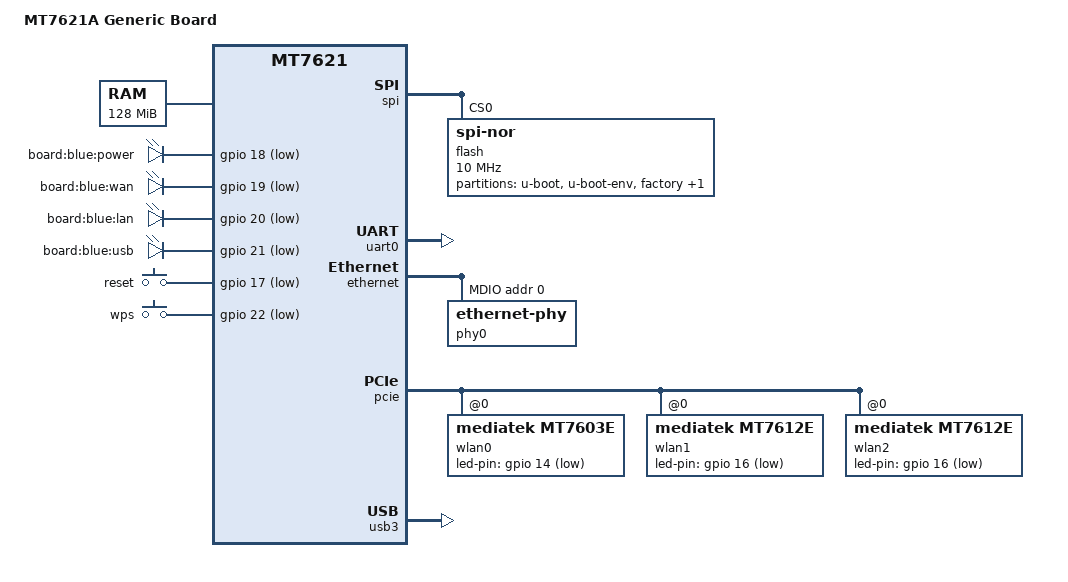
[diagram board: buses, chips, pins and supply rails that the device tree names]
/dts-v1/;

#include <dt-bindings/gpio/gpio.h>
#include <dt-bindings/interrupt-controller/arm-gic.h>

/ {
	compatible = "mediatek,mt7621-soc\0generic,mt7621-board";
	model = "MT7621A Generic Board";
	#address-cells = <1>;
	#size-cells = <1>;

	memory@0 {
		device_type = "memory";
		reg = <0x0 0x8000000>; /* 128MB DDR3 */
	};

	chosen {
		bootargs = "console=ttyS0,115200n8 root=/dev/mtdblock3 rootfstype=squashfs,jffs2";
	};

	cpus {
		#address-cells = <1>;
		#size-cells = <0>;

		cpu@0 {
			compatible = "mips,mips1004Kc";
			reg = <0>;
		};

		cpu@1 {
			compatible = "mips,mips1004Kc";
			reg = <1>;
		};
	};

	clkctrl: clock-controller@10000000 {
		compatible = "mediatek,mt7621-clk";
		reg = <0x10000000 0x100>;
		#clock-cells = <1>;
	};

	rstctrl: reset-controller@10000100 {
		compatible = "mediatek,mt7621-reset";
		reg = <0x10000100 0x100>;
		#reset-cells = <1>;
	};

	palmbus: palmbus@1E000000 {
		compatible = "mediatek,palmbus";
		reg = <0x1e000000 0x100000>;
		ranges = <0 0x1e000000 0xfffff>;
		#address-cells = <1>;
		#size-cells = <1>;

		sysc: system-controller@0 {
			compatible = "mediatek,mt7621-sysc";
			reg = <0x0 0x100>;
		};

		wdt: watchdog@100 {
			compatible = "mediatek,mt7621-wdt";
			reg = <0x100 0x100>;
			clocks = <&clkctrl 1>;
		};

		gpio: gpio-controller@600 {
			compatible = "mediatek,mt7621-gpio";
			reg = <0x600 0x100>;
			gpio-controller;
			#gpio-cells = <2>;
			interrupt-parent = <&gic>;
			interrupts = <GIC_SPI 12 IRQ_TYPE_LEVEL_HIGH>;
		};

		spi: spi@b00 {
			compatible = "mediatek,mt7621-spi";
			reg = <0xb00 0x100>;
			clocks = <&clkctrl 18>;
			resets = <&rstctrl 18>;
			#address-cells = <1>;
			#size-cells = <0>;
			status = "okay";

			flash@0 {
				compatible = "jedec,spi-nor";
				reg = <0>;
				spi-max-frequency = <10000000>;
				m25p,fast-read;

				partitions {
					compatible = "fixed-partitions";
					#address-cells = <1>;
					#size-cells = <1>;

					partition@0 {
						label = "u-boot";
						reg = <0x0 0x30000>;
						read-only;
					};

					partition@30000 {
						label = "u-boot-env";
						reg = <0x30000 0x10000>;
					};

					partition@40000 {
						label = "factory";
						reg = <0x40000 0x10000>;
						read-only;
						
						/* 校准数据分区 */
						nvmem-layout {
							compatible = "fixed-layout";
							#address-cells = <1>;
							#size-cells = <1>;

							mac_eth0: mac@0 {
								reg = <0x0 0x6>;
							};

							mac_wlan0: mac@8 {
								reg = <0x8 0x6>;
							};

							eeprom_wlan0: eeprom@1000 {
								reg = <0x1000 0x400>;
							};

							eeprom_wlan1: eeprom@5000 {
								reg = <0x5000 0x400>;
							};

							eeprom_wlan2: eeprom@9000 {
								reg = <0x9000 0x400>;
							};
						};
					};

					partition@50000 {
						label = "firmware";
						reg = <0x50000 0xfb0000>;
					};
				};
			};
		};

		uart0: serial@c00 {
			compatible = "ns16550a";
			reg = <0xc00 0x100>;
			reg-shift = <2>;
			reg-io-width = <4>;
			clocks = <&clkctrl 12>;
			interrupt-parent = <&gic>;
			interrupts = <GIC_SPI 10 IRQ_TYPE_LEVEL_HIGH>;
			status = "okay";
		};
	};

	/* 以太网接口 */
	ethernet: ethernet@1E100000 {
		compatible = "mediatek,mt7621-eth";
		reg = <0x1e100000 0x10000>;
		interrupt-parent = <&gic>;
		interrupts = <GIC_SPI 21 IRQ_TYPE_LEVEL_HIGH>;
		resets = <&rstctrl 21>;
		mediatek,switch = <&gsw>;
		mediatek,portmap = "llllw"; /* 4LAN+1WAN */
		nvmem-cells = <&mac_eth0>;
		nvmem-cell-names = "mac-address";

		mdio: mdio-bus {
			#address-cells = <1>;
			#size-cells = <0>;

			phy0: ethernet-phy@0 {
				reg = <0>;
				phy-mode = "rgmii";
			};
		};
	};

	/* 千兆交换机 */
	gsw: gsw@1E110000 {
		compatible = "mediatek,mt7621-gsw";
		reg = <0x1e110000 0x8000>;
		interrupt-parent = <&gic>;
		interrupts = <GIC_SPI 22 IRQ_TYPE_LEVEL_HIGH>;
	};

	/* 3个PCIe接口 */
	pcie: pcie@1E140000 {
		compatible = "mediatek,mt7621-pci";
		reg = <0x1e140000 0x100
		       0x1e142000 0x100  /* PCIe2配置区 */
		       0x1e144000 0x100>; /* PCIe1配置区 */
		device_type = "pci";
		bus-range = <0 31>;
		#address-cells = <3>;
		#size-cells = <2>;
		status = "okay";

		/* 时钟配置 */
		clocks = <&clkctrl 14>, <&clkctrl 15>, <&clkctrl 16>;
		clock-names = "pcie0", "pcie1", "pcie2";

		/* 复位配置 */
		resets = <&rstctrl 14>, <&rstctrl 15>, <&rstctrl 16>;
		reset-names = "pcie0", "pcie1", "pcie2";

		/* 中断配置 */
		interrupt-parent = <&gic>;
		interrupts = <GIC_SPI 14 IRQ_TYPE_LEVEL_HIGH>,
			     <GIC_SPI 15 IRQ_TYPE_LEVEL_HIGH>,
			     <GIC_SPI 16 IRQ_TYPE_LEVEL_HIGH>;

		/* 地址映射 */
		ranges = <0x02000000 0 0x60000000 0x60000000 0 0x10000000>, /* PCIe0 */
			 <0x02010000 0 0x70000000 0x70000000 0 0x10000000>, /* PCIe1 */
			 <0x02020000 0 0x80000000 0x80000000 0 0x10000000>; /* PCIe2 */

		/* PCIe0: 2.4G无线 (MT7603E) */
		pcie0 {
			reg = <0x0000 0 0 0 0>;
			#address-cells = <3>;
			#size-cells = <2>;
			device_type = "pci";

			wlan0: mt7603e@0,0 {
				compatible = "mediatek,mt7603e";
				reg = <0x0000 0 0 0 0>;
				nvmem-cells = <&eeprom_wlan0>, <&mac_wlan0>;
				nvmem-cell-names = "eeprom", "mac-address";
				ieee80211-freq-limit = <2400000 2500000>; /* 2.4GHz频段 */
				mediatek,led-pin = <&gpio 14 GPIO_ACTIVE_LOW>; /* WLAN2G LED */
			};
		};

		/* PCIe1: 5G无线1 (MT7612E) */
		pcie1 {
			reg = <0x0800 0 0 0 0>;
			#address-cells = <3>;
			#size-cells = <2>;
			device_type = "pci";

			wlan1: mt7612e@1,0 {
				compatible = "mediatek,mt7612e";
				reg = <0x0000 0 0 0 0>;
				nvmem-cells = <&eeprom_wlan1>;
				nvmem-cell-names = "eeprom";
				ieee80211-freq-limit = <5150000 5850000>; /* 5GHz频段 */
				mediatek,led-pin = <&gpio 16 GPIO_ACTIVE_LOW>; /* WLAN5G LED */
			};
		};

		/* PCIe2: 5G无线2 (MT7612E) */
		pcie2 {
			reg = <0x1000 0 0 0 0>;
			#address-cells = <3>;
			#size-cells = <2>;
			device_type = "pci";

			wlan2: mt7612e@2,0 {
				compatible = "mediatek,mt7612e";
				reg = <0x0000 0 0 0 0>;
				nvmem-cells = <&eeprom_wlan2>;
				nvmem-cell-names = "eeprom";
				ieee80211-freq-limit = <5150000 5850000>; /* 5GHz频段 */
				mediatek,led-pin = <&gpio 16 GPIO_ACTIVE_LOW>; /* 共享5G LED */
			};
		};
	};

	/* USB3.0控制器 */
	usb3: usb@1E1C0000 {
		compatible = "mediatek,mt7621-xhci";
		reg = <0x1e1c0000 0x1000 0x1e1d0700 0x100>;
		reg-names = "mac", "ippc";
		clocks = <&clkctrl 20>;
		interrupt-parent = <&gic>;
		interrupts = <GIC_SPI 20 IRQ_TYPE_LEVEL_HIGH>;
		status = "okay";
	};

	/* LED配置 */
	leds {
		compatible = "gpio-leds";

		power {
			label = "board:blue:power";
			gpios = <&gpio 18 GPIO_ACTIVE_LOW>;
			default-state = "on";
		};

		wan {
			label = "board:blue:wan";
			gpios = <&gpio 19 GPIO_ACTIVE_LOW>;
		};

		lan {
			label = "board:blue:lan";
			gpios = <&gpio 20 GPIO_ACTIVE_LOW>;
		};

		usb {
			label = "board:blue:usb";
			gpios = <&gpio 21 GPIO_ACTIVE_LOW>;
			trigger-sources = <&usb3>;
			linux,default-trigger = "usbport";
		};
	};

	/* 按键配置 */
	keys {
		compatible = "gpio-keys";

		reset {
			label = "reset";
			gpios = <&gpio 17 GPIO_ACTIVE_LOW>;
			linux,code = <KEY_RESTART>;
		};

		wps {
			label = "wps";
			gpios = <&gpio 22 GPIO_ACTIVE_LOW>;
			linux,code = <KEY_WPS_BUTTON>;
		};
	};

	/* 中断控制器 */
	gic: interrupt-controller@1FBC0000 {
		compatible = "mediatek,mt7621-gic";
		reg = <0x1fbc0000 0x2000>;
		#interrupt-cells = <3>;
		interrupt-controller;
	};
};
